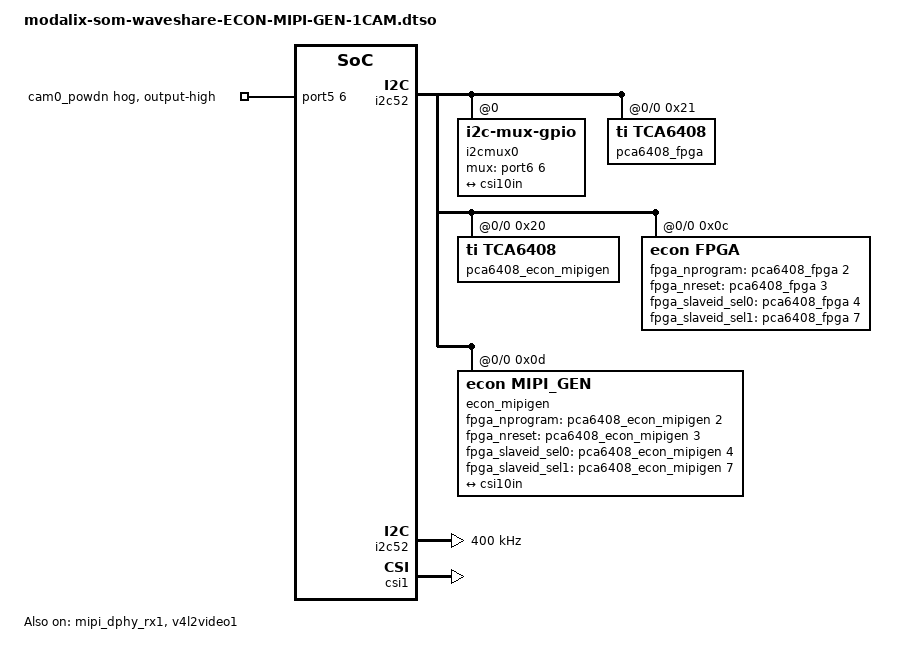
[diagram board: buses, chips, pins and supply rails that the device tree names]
// SPDX-License-Identifier: (GPL-2.0+ OR MIT)
/*
 * Copyright (c) 2026 SiMa ai
 */

/dts-v1/;
/plugin/;

&{/} {

    i2cmux0: i2cmux@0 {
        compatible = "i2c-mux-gpio";
        i2c-parent = <&i2c52>;
        #address-cells = <1>;
        #size-cells = <0>;
        /* Set port6 gpio6 to GPIO_ACTIVE_LOW mode */
        mux-gpios = <&port6 6 0>;
        i2cmux0p0: i2c@0 {
            reg = <0>;
            #address-cells = <1>;
            #size-cells = <0>;
        };
    };
};

&port5 {
    cam-hog0 {
        gpio-hog;
        /* Set port5 gpio6 to GPIO_ACTIVE_HIGH mode */
        gpios = <6 0>;
        output-high;
        line-name = "cam0_powdn";
    };
};

&i2c52 {
    status = "okay";
    clock-frequency = <400000>;
    #address-cells = <1>;
    #size-cells = <0>;
};

&csi1 {
    status = "okay";
};

&axi_vdma1 {
    status = "okay";
};

&mipi_dphy_rx1 {
    status = "okay";
};

&v4l2video1 {
    status = "okay";
};

&v4l2vdma1 {
    status = "okay";
};

&csi10in {
    clock-lanes = <0>;
    data-lanes = <1 2>;
    link-frequencies = /bits/ 64 <594000000>;
    remote-endpoint = <&cam10out>;
    clock-continuous;
};

&i2cmux0p0 {

	pca6408_fpga: pca6408@0x21 {
        compatible = "ti,tca6408";                              
        gpio-controller;                                        
        #gpio-cells = <2>;                                      
        reg = <0x21>;                                           
        status = "okay";                                        
    };

	pca6408_econ_mipigen: pca6408@0x20 {
		compatible = "ti,tca6408";
		gpio-controller;
		#gpio-cells = <2>;
		reg = <0x20>;
		status = "okay";
		pca6408_mipi_gen_1_outlow {
			gpio-hog;
			gpios = <0 0 1 0 5 0 6 0>;
			output-low;
			label = "pca6408_mipi_gen_1_outlow_0",
					"pca6408_mipi_gen_1_outlow_1",
					"pca6408_mipi_gen_1_outlow_5",
					"pca6408_mipi_gen_1_outlow_6";
		};
	};

    fpga: fpga@c {
		compatible = "econ,fpga";
		reg = <0x0c>;
		status = "okay";
		fpga_nprogram-gpios = <&pca6408_fpga 2 0>;
        fpga_nreset-gpios = <&pca6408_fpga 3 0>;
        fpga_slaveid_sel0-gpios = <&pca6408_fpga 4 0>;
        fpga_slaveid_sel1-gpios = <&pca6408_fpga 7 0>;
		mipi_filter_dt1 = <0x92>;
		mipi_filter_dt2 = <0x93>;
		mipi_filter_dt3 = <0xb7>;
		mipi_filter_dt4 = <0x7f>;
		mipi_speed = <1188>;
		mipi_tx_clockmode = <0>; // Discontinuous
		mipi_rx_clockmode = <0>; // Discontinuous
	};

    econ_mipigen: econ_mipigen@d {
 		compatible = "econ,mipi_gen";
		reg = <0x0d>;
		fpga_nprogram-gpios = <&pca6408_econ_mipigen 2 0>;
		fpga_nreset-gpios = <&pca6408_econ_mipigen 3 0>;
		fpga_slaveid_sel0-gpios = <&pca6408_econ_mipigen 4 0>;
		fpga_slaveid_sel1-gpios = <&pca6408_econ_mipigen 7 0>;
		mipi_speed = <1188>;
		mipi_tx_clockmode = <0>; // Discontinuous

        port@1 {
            cam10out: endpoint@0 {
                clock-lanes = <0>;
                data-lanes = <1 2>;
                link-frequencies = /bits/ 64 <594000000>;
                remote-endpoint = <&csi10in>;
                clock-continuous;
            };
        };
    };
};
